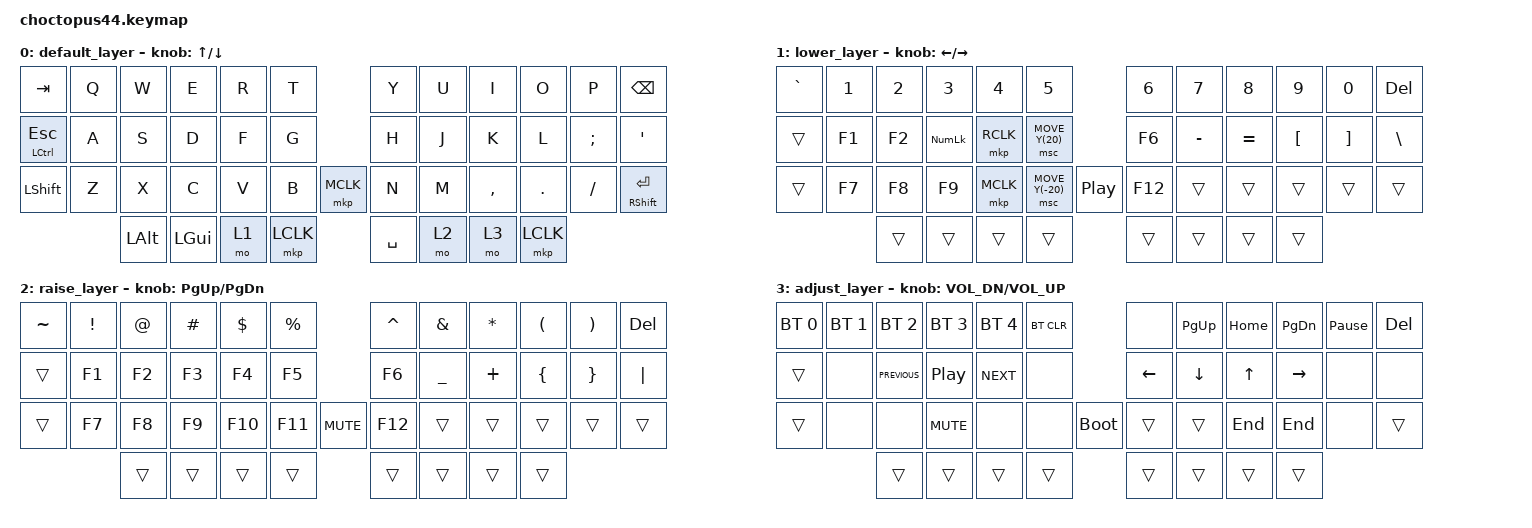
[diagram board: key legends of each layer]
/*
 * Copyright (c) 2021 The ZMK Contributors
 * SPDX-License-Identifier: MIT
 */

#include <behaviors.dtsi>
#include <dt-bindings/zmk/keys.h>
#include <dt-bindings/zmk/bt.h>
#include <dt-bindings/zmk/rgb.h>
#include <dt-bindings/zmk/mouse.h>

//#define ZMK_POINTING_DEFAULT_MOVE_VAL 600  // default: 600
//#define ZMK_POINTING_DEFAULT_SCRL_VAL 10    // default: 10

&mt {
  tapping-term-ms = <400>;
};

/ {
  keymap {
    compatible = "zmk,keymap";

    default_layer {
      bindings = <
        &kp TAB         &kp Q     &kp W       &kp E     &kp R    &kp T                &kp Y     &kp U     &kp I      &kp O    &kp P     &kp BSPC
        &mt LCTRL ESC   &kp A     &kp S       &kp D     &kp F    &kp G                &kp H     &kp J     &kp K      &kp L    &kp SEMI  &kp SQT
        &kp LSHFT       &kp Z     &kp X       &kp C     &kp V    &kp B      &mkp MCLK &kp N     &kp M     &kp COMMA  &kp DOT  &kp FSLH  &mt RSHFT RET
                                  &kp LALT    &kp LGUI  &mo 1    &mkp LCLK            &kp SPACE &mo 2     &mo 3      &mkp LCLK
      >;
      sensor-bindings = <&inc_dec_kp UP DOWN>;
    };

    lower_layer {
      bindings = <
        &kp GRAVE    &kp N1    &kp N2  &kp N3         &kp N4    &kp N5                             &kp N6     &kp N7       &kp N8      &kp N9      &kp N0    &kp DEL
        &trans       &kp F1    &kp F2  &kp KP_NUMLOCK &mkp RCLK &msc MOVE_Y(20)                    &kp F6     &kp MINUS    &kp EQUAL   &kp LBKT    &kp RBKT  &kp BSLH
        &trans       &kp F7    &kp F8  &kp F9         &mkp MCLK &msc MOVE_Y(-20)  &kp C_PLAY_PAUSE &kp F12    &trans       &trans      &trans      &trans    &trans
                               &trans  &trans         &trans    &trans                             &trans     &trans       &trans      &trans
      >;

      sensor-bindings = <&inc_dec_kp LEFT RIGHT>;
    };

    raise_layer {
      bindings = <
        &kp TILDE   &kp EXCL    &kp AT      &kp POUND     &kp DOLLAR  &kp PERCENT               &kp CARET     &kp AMPS     &kp STAR    &kp LPAR    &kp RPAR  &kp DEL
        &trans      &kp F1      &kp F2      &kp F3        &kp F4      &kp F5                    &kp F6        &kp UNDER    &kp PLUS    &kp LBRC    &kp RBRC  &kp PIPE
        &trans      &kp F7      &kp F8      &kp F9        &kp F10     &kp F11        &kp C_MUTE &kp F12       &trans       &trans      &trans      &trans    &trans
                                &trans      &trans        &trans      &trans                    &trans        &trans       &trans      &trans
      >;
      sensor-bindings = <&inc_dec_kp PG_UP PG_DN>;
    };

    adjust_layer {
      bindings = <
        &bt BT_SEL 0  &bt BT_SEL 1    &bt BT_SEL 2    &bt BT_SEL 3     &bt BT_SEL 4    &bt BT_CLR                &none         &kp PAGE_UP      &kp HOME      &kp PAGE_DOWN    &kp PAUSE_BREAK   &kp DEL
        &trans        &none           &kp C_PREVIOUS  &kp C_PLAY_PAUSE &kp C_NEXT      &none                     &kp LEFT      &kp DOWN         &kp UP        &kp RIGHT        &none             &none
        &trans        &none           &none           &kp C_MUTE       &none           &none       &bootloader   &trans        &trans           &kp END       &kp END          &none             &trans
                                      &trans          &trans           &trans          &trans                    &trans        &trans           &trans        &trans
      >;
      sensor-bindings = <&inc_dec_kp C_VOL_DN C_VOL_UP>;
    };

  };
};
